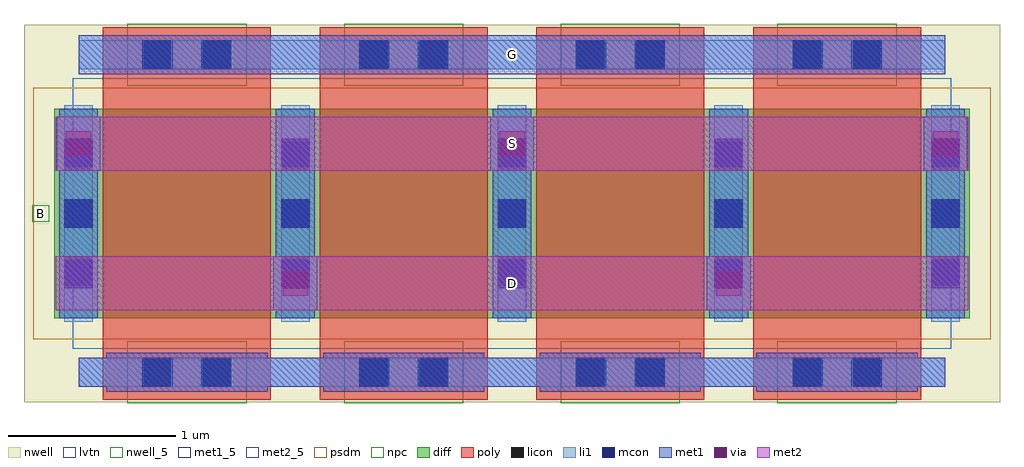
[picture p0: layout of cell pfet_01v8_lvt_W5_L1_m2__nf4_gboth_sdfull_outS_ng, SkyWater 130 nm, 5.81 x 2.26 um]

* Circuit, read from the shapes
.subckt pfet_01v8_lvt_W5_L1_m2__nf4_gboth_sdfull_outS_ng B D G S
XM1 D G S B sky130_fd_pr__pfet_01v8_lvt w=1.25 l=1 m=4
.ends

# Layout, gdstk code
import gdstk
lib = gdstk.Library(unit=1e-6, precision=1e-09)
def R(c, l, rs):  # rectangles x0, y0, x1, y1
    for r in rs: c.add(gdstk.rectangle(r[:2], r[2:], *l))
def A(c, l, x, y, w, h, nx, ny, dx, dy):  # array of equal rectangles
    R(c, l, [(x+i*dx, y+j*dy, x+i*dx+w, y+j*dy+h) for i in range(nx) for j in range(ny)])
nwell_5 = (64, 5)
nwell = (64, 20)
diff = (65, 20)
poly = (66, 20)
licon = (66, 44)
li1 = (67, 20)
mcon = (67, 44)
met1_5 = (68, 5)
met1 = (68, 20)
via = (68, 44)
met2_5 = (69, 5)
met2 = (69, 20)
psdm = (94, 20)
npc = (95, 20)
lvtn = (125, 44)

sky130_fd_pr__pfet_01v8_ = lib.new_cell('sky130_fd_pr__pfet_01v8_lvt_8VDCSJ')
R(sky130_fd_pr__pfet_01v8_, nwell, [(-2.905,-1.125,2.905,1.125)])
R(sky130_fd_pr__pfet_01v8_, diff, [(-2.725,-0.625,2.725,0.625)])
A(sky130_fd_pr__pfet_01v8_, poly, -2.435, -1.11, 1, 2.22, 4, 1, 1.29, 0)
A(sky130_fd_pr__pfet_01v8_, licon, -2.665, -0.425, 0.17, 0.17, 5, 3, 1.29, 0.34)
R(sky130_fd_pr__pfet_01v8_, licon, [(-2.19,-1.03,-2.02,-0.86), (-1.85,-1.03,-1.68,-0.86), (-0.9,-1.03,-0.73,-0.86), (-0.56,-1.03,-0.39,-0.86), (0.39,-1.03,0.56,-0.86), (0.73,-1.03,0.9,-0.86), (1.68,-1.03,1.85,-0.86), (2.02,-1.03,2.19,-0.86), (-2.19,0.86,-2.02,1.03), (-1.85,0.86,-1.68,1.03), (-0.9,0.86,-0.73,1.03), (-0.56,0.86,-0.39,1.03), (0.39,0.86,0.56,1.03), (0.73,0.86,0.9,1.03), (1.68,0.86,1.85,1.03), (2.02,0.86,2.19,1.03)])
A(sky130_fd_pr__pfet_01v8_, li1, -2.665, -0.645, 0.17, 1.29, 5, 1, 1.29, 0)
R(sky130_fd_pr__pfet_01v8_, li1, [(-2.58,-1.03,2.58,-0.86), (-2.58,0.86,2.58,1.03)])
A(sky130_fd_pr__pfet_01v8_, mcon, -2.665, -0.445, 0.17, 0.17, 5, 3, 1.29, 0.36)
R(sky130_fd_pr__pfet_01v8_, mcon, [(-2.2,-1.03,-2.03,-0.86), (-1.84,-1.03,-1.67,-0.86), (-0.91,-1.03,-0.74,-0.86), (-0.55,-1.03,-0.38,-0.86), (0.38,-1.03,0.55,-0.86), (0.74,-1.03,0.91,-0.86), (1.67,-1.03,1.84,-0.86), (2.03,-1.03,2.2,-0.86), (-2.2,0.86,-2.03,1.03), (-1.84,0.86,-1.67,1.03), (-0.91,0.86,-0.74,1.03), (-0.55,0.86,-0.38,1.03), (0.38,0.86,0.55,1.03), (0.74,0.86,0.91,1.03), (1.67,0.86,1.84,1.03), (2.03,0.86,2.2,1.03)])
A(sky130_fd_pr__pfet_01v8_, met1, -2.415, -1.06, 0.96, 0.03, 4, 2, 1.29, 0.2)
A(sky130_fd_pr__pfet_01v8_, met1, -2.695, -0.625, 0.23, 1.25, 5, 1, 1.29, 0)
A(sky130_fd_pr__pfet_01v8_, met1, -2.415, 0.83, 0.96, 0.03, 4, 2, 1.29, 0.2)
R(sky130_fd_pr__pfet_01v8_, met1, [(-2.58,-1.03,2.58,-0.86), (-2.58,0.86,2.58,1.03)])
R(sky130_fd_pr__pfet_01v8_, psdm, [(-2.85,-0.75,2.85,0.75)])
A(sky130_fd_pr__pfet_01v8_, npc, -2.29, -1.13, 0.71, 0.37, 4, 2, 1.29, 1.89)
R(sky130_fd_pr__pfet_01v8_, lvtn, [(-2.615,-0.805,2.615,0.805)])
sky130_fd_pr__pfet_01v8_.add(gdstk.Label('D0', (-2.58,0), layer=67, texttype=5))
sky130_fd_pr__pfet_01v8_.add(gdstk.Label('G', (1.935,0.945), layer=67, texttype=5))
sky130_fd_pr__pfet_01v8_.add(gdstk.Label('G', (0.645,0.945), layer=67, texttype=5))
sky130_fd_pr__pfet_01v8_.add(gdstk.Label('G', (-0.645,0.945), layer=67, texttype=5))
sky130_fd_pr__pfet_01v8_.add(gdstk.Label('G', (-1.935,0.945), layer=67, texttype=5))
sky130_fd_pr__pfet_01v8_.add(gdstk.Label('S1', (-1.29,0), layer=67, texttype=5))
sky130_fd_pr__pfet_01v8_.add(gdstk.Label('D2', (0,0), layer=67, texttype=5))
sky130_fd_pr__pfet_01v8_.add(gdstk.Label('S3', (1.29,0), layer=67, texttype=5))

pfet_01v8_lvt_w5_l1_m2__ = lib.new_cell('pfet_01v8_lvt_W5_L1_m2__nf4_gboth_sdfull_outS_ng')
R(pfet_01v8_lvt_w5_l1_m2__, nwell_5, [(0.05,1.075,0.15,1.175)])
R(pfet_01v8_lvt_w5_l1_m2__, nwell, [(0.05,1.075,0.15,1.175)])
R(pfet_01v8_lvt_w5_l1_m2__, met1_5, [(0.325,1.955,5.485,2.185)])
A(pfet_01v8_lvt_w5_l1_m2__, met1, 0.195, 1.38, 0.26, 0.32, 3, 1, 2.58, 0)
R(pfet_01v8_lvt_w5_l1_m2__, met1, [(1.485,0.55,1.745,0.87), (4.065,0.55,4.325,0.87), (0.325,1.955,5.485,2.185)])
A(pfet_01v8_lvt_w5_l1_m2__, via, 0.25, 1.465, 0.15, 0.15, 3, 1, 2.58, 0)
R(pfet_01v8_lvt_w5_l1_m2__, via, [(1.54,0.635,1.69,0.785), (4.12,0.635,4.27,0.785)])
R(pfet_01v8_lvt_w5_l1_m2__, met2_5, [(0.19,0.55,5.62,0.87), (0.19,1.38,5.62,1.7)])
R(pfet_01v8_lvt_w5_l1_m2__, met2, [(0.19,0.55,5.62,0.87), (0.19,1.38,5.62,1.7)])
pfet_01v8_lvt_w5_l1_m2__.add(gdstk.Reference(sky130_fd_pr__pfet_01v8_, (2.905,1.125)))
pfet_01v8_lvt_w5_l1_m2__.add(gdstk.Label('S', (2.905,1.54), layer=69, texttype=5))
pfet_01v8_lvt_w5_l1_m2__.add(gdstk.Label('D', (2.905,0.71), layer=69, texttype=5))
pfet_01v8_lvt_w5_l1_m2__.add(gdstk.Label('G', (2.905,2.07), layer=68, texttype=5))
pfet_01v8_lvt_w5_l1_m2__.add(gdstk.Label('B', (0.1,1.125), layer=64, texttype=5))

lib.write_gds('pfet_01v8_lvt_W5_L1_m2__nf4_gboth_sdfull_outS_ng.gds')
